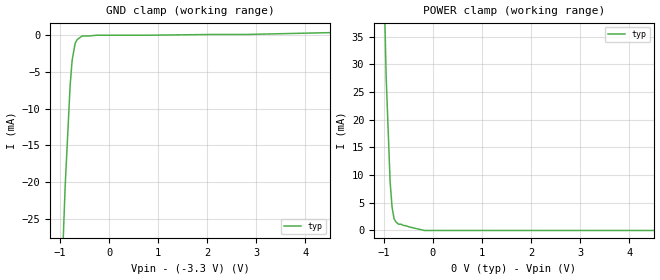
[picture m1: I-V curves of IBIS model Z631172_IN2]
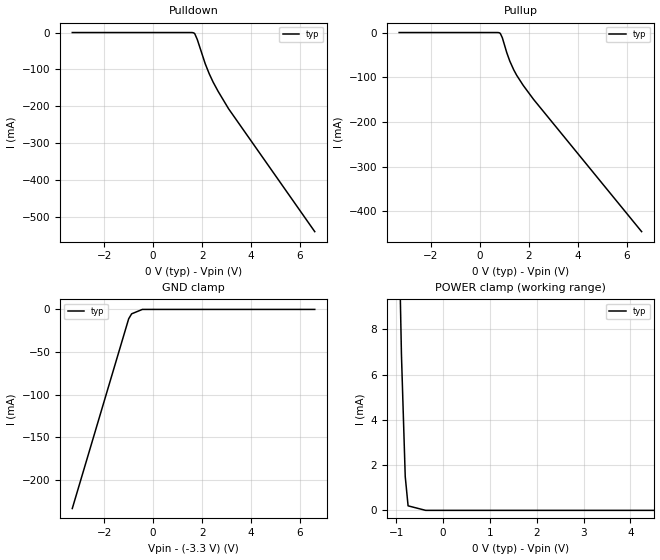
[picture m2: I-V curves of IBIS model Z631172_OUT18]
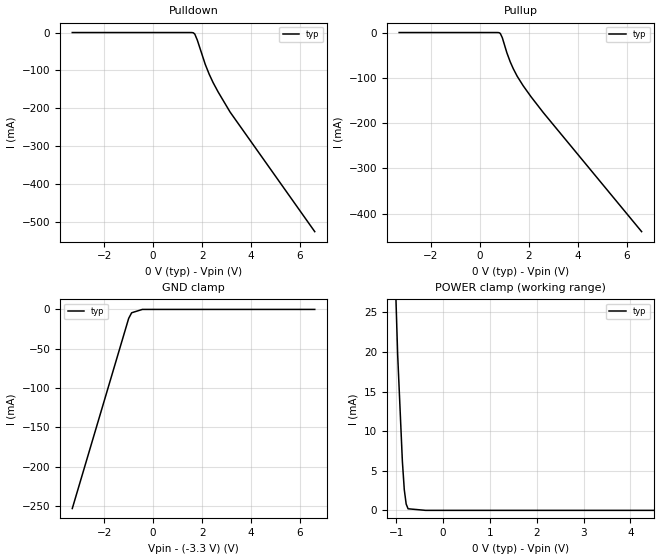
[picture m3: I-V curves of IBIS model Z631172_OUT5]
| YOU ARE ONLY AUTHORIZED TO USE THIS SOFTWARE
| ACCORDING TO LICENSOR'S LICENSE RESTRICTIONS.
[IBIS Ver] 3.1
[File Name] mc100lve111fn_-33.ibs
[File Rev] 2.0
[Source] Measured and created by ICX Technology
[Date] Thursday 11/2/00 9:36:00 AM
[Copyright]
| (C) COPYRIGHT 1993-2000
| MENTOR GRAPHICS CORPORATION
| ICX STANDARD LIBRARY, ICX PROJECT MODELING,
| ICX CUSTOM MODELING, ICX VENDOR MODEL
| ALL RIGHTS RESERVED.
| THE FOLLOWING ARE TRADEMARKS OR SERVICE MARKS OF
| MENTOR GRAPHICS CORPORATION:ICX (R), ICX STANDARD
| LIBRARY(R), ICX PROJECT MODELING(R), ICX CUSTOM
| MODELING(R), qualityIBIS(TM), MODELVIEWER(TM),
| AND MODELEDITOR(TM)
| ALL COPIES OF SOFTWARE, INCLUDING BUT NOT LIMITED TO
| ANY MODIFICATIONS, ENHANCEMENTS OR DERIVATIVE WORKS,
| MUST CONTAIN ALL MENTOR GRAPHICS CORPORATION'S
| NOTICES AND LEGENDS, INCLUDING THOSE EMBEDDED IN
| SOFTWARE AND THOSE AFFIXED TO SOFTWARE MEDIUM
| AND CONTAINER, AS RECEIVED FROM MENTOR GRAPHICS
| CORPORATION.
|  ZAP Model Builder 2.8
[Component] MC100LVE111FN_-33
[Manufacturer] OnSemiconductor
[Package]
| variable   typ   min   max
R_pkg  .083ohms NA NA
L_pkg  4.299nH NA NA
C_pkg  1.045pF NA NA
[Pin] signal_name  model_name  R_pin  L_pin C_pin
1 VCC POWER .08 3.94n .925p
2 _IN Z631172_IN2 .082 4.14n .995p
3 VBB NC .084 4.354n 1.065p
4 NC NC .086 4.583n 1.135p
5 _Q8 Z631172_OUT5 .086 4.583n 1.135p
6 Q8 Z631172_OUT18 .084 4.354n 1.065p
7 _Q7 Z631172_OUT5 .082 4.14n .995p
8 VCCO POWER .08 3.94n .925p
9 Q7 Z631172_OUT18 .082 4.14n .995p
10 _Q6 Z631172_OUT5 .084 4.354n 1.065p
11 Q6 Z631172_OUT18 .086 4.583n 1.135p
12 _Q5 Z631172_OUT5 .086 4.583n 1.135p
13 Q5 Z631172_OUT18 .084 4.354n 1.065p
14 _Q4 Z631172_OUT5 .082 4.14n .995p
15 VCCO POWER .08 3.94n .925p
16 Q4 Z631172_OUT18 .082 4.14n .995p
17 _Q3 Z631172_OUT5 .084 4.354n 1.065p
18 Q3 Z631172_OUT18 .086 4.583n 1.135p
19 _Q2 Z631172_OUT5 .086 4.583n 1.135p
20 Q2 Z631172_OUT18 .084 4.354n 1.065p
21 _Q1 Z631172_OUT5 .082 4.14n .995p
22 VCCO POWER .08 3.94n .925p
23 Q1 Z631172_OUT18 .082 4.14n .995p
24 _Q0 Z631172_OUT5 .084 4.354n 1.065p
25 Q0 Z631172_OUT18 .086 4.583n 1.135p
26 VEE POWER .086 4.583n 1.135p
27 NC NC .084 4.354n 1.065p
28 IN Z631172_IN2 .082 4.14n .995p
[Diff Pin] inv_pin vdiff tdelay_typ tdelay_min tdelay_max
28 2 500mv NA NA NA
6 5 NA NA NA .2ns
9 7 NA NA NA .2ns
11 10 NA NA NA .2ns
13 12 NA NA NA .2ns
16 14 NA NA NA .2ns
18 17 NA NA NA .2ns
20 19 NA NA NA .2ns
23 21 NA NA NA .2ns
25 24 NA NA NA .2ns
| Models and submodels in the file (3): Z631172_IN2 (Input_ECL), Z631172_OUT18 (Output_ECL), Z631172_OUT5 (Output_ECL)
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| (C) COPYRIGHT 1993-2000
| MENTOR GRAPHICS CORPORATION
| ICX STANDARD LIBRARY, ICX PROJECT MODELING,
| ICX CUSTOM MODELING, ICX VENDOR MODEL
| ALL RIGHTS RESERVED.
| THE FOLLOWING ARE TRADEMARKS OR SERVICE MARKS OF
| MENTOR GRAPHICS CORPORATION:ICX (R), ICX STANDARD
| LIBRARY(R), ICX PROJECT MODELING(R), ICX CUSTOM
| MODELING(R), qualityIBIS(TM), MODELVIEWER(TM),
| AND MODELEDITOR(TM)
| ALL COPIES OF SOFTWARE, INCLUDING BUT NOT LIMITED TO
| ANY MODIFICATIONS, ENHANCEMENTS OR DERIVATIVE WORKS,
| MUST CONTAIN ALL MENTOR GRAPHICS CORPORATION'S
| NOTICES AND LEGENDS, INCLUDING THOSE EMBEDDED IN
| SOFTWARE AND THOSE AFFIXED TO SOFTWARE MEDIUM
| AND CONTAINER, AS RECEIVED FROM MENTOR GRAPHICS
| CORPORATION.
| Model Application Version 1.89 2/18/99.
[Model] Z631172_IN2
Model_type Input_ECL
Vinl = -1.475V
Vinh = -1.165V
C_comp 3.000pF NA NA
| variable typ   min   max
[Voltage Range] -3.300V NA NA
[GND Clamp Reference] -3.300V NA NA
[POWER Clamp Reference] 0.000V NA NA
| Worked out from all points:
|   GND clamp passes 1 mA (typ) near -0.68 V on its own axis
|   POWER clamp passes 1 mA (typ) near -0.62 V on its own axis
[GND Clamp]
-3.3V     -526.6mA   NA         NA
-1.038V   -46.3mA    NA         NA
-896mV    -20.5mA    NA         NA
-795mV    -6.8mA     NA         NA
-754mV    -3.4mA     NA         NA
-693mV    -1.1mA     NA         NA
-652mV    -600uA     NA         NA
-546.2mV  -100uA     NA         NA
-250.3mV  0A         NA         NA
2.773V    100uA      NA         NA
6.6V      655.4uA    NA         NA
[POWER Clamp]
-3.3V     1.173A     NA         NA
-1.075V   75.47mA    NA         NA
-953mV    27.79mA    NA         NA
-872mV    8.797mA    NA         NA
-831mV    4.103mA    NA         NA
-791mV    2.109mA    NA         NA
-750mV    1.515mA    NA         NA
-699.5mV  1.129mA    NA         NA
-649mV    1.129mA    NA         NA
-175.3mV  0A         NA         NA
6.6V      0A         NA         NA
| (C) COPYRIGHT 1993-2000
| MENTOR GRAPHICS CORPORATION
| ICX STANDARD LIBRARY, ICX PROJECT MODELING,
| ICX CUSTOM MODELING, ICX VENDOR MODEL
| ALL RIGHTS RESERVED.
| THE FOLLOWING ARE TRADEMARKS OR SERVICE MARKS OF
| MENTOR GRAPHICS CORPORATION:ICX (R), ICX STANDARD
| LIBRARY(R), ICX PROJECT MODELING(R), ICX CUSTOM
| MODELING(R), qualityIBIS(TM), MODELVIEWER(TM),
| AND MODELEDITOR(TM)
| ALL COPIES OF SOFTWARE, INCLUDING BUT NOT LIMITED TO
| ANY MODIFICATIONS, ENHANCEMENTS OR DERIVATIVE WORKS,
| MUST CONTAIN ALL MENTOR GRAPHICS CORPORATION'S
| NOTICES AND LEGENDS, INCLUDING THOSE EMBEDDED IN
| SOFTWARE AND THOSE AFFIXED TO SOFTWARE MEDIUM
| AND CONTAINER, AS RECEIVED FROM MENTOR GRAPHICS
| CORPORATION.
| Model Application Version 1.89 2/18/99.
[Model] Z631172_OUT18
Model_type Output_ECL
Vref=-2.000V
Rref=50.00ohms
Cref=0.000F
Vmeas=-1.320V
C_comp 8.000pF NA NA
| variable typ   min   max
[Voltage Range] -3.300V NA NA
[POWER Clamp Reference] 0.000V NA NA
[Pullup Reference] 0.000V NA NA
[Pulldown Reference] 0.000V NA NA
[GND Clamp Reference] -3.300V NA NA
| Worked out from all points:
|   POWER clamp passes 1 mA (typ) near -0.79 V on its own axis
[GND Clamp]
-3.3V     -234mA     NA         NA
-997mV    -11.01mA   NA         NA
-876mV    -5.178mA   NA         NA
-438mV    0A         NA         NA
6.6V      0A         NA         NA
[Pulldown]
-3.3V     0A         NA         NA
1.561V    0A         NA         NA
1.682V    -2mA       NA         NA
1.804V    -18.9mA    NA         NA
2.128V    -84.8mA    NA         NA
2.29V     -111.7mA   NA         NA
2.452V    -134.8mA   NA         NA
2.655V    -159.7mA   NA         NA
3.081V    -206.9mA   NA         NA
6.6V      -540.6mA   NA         NA
[Pullup]
-3.3V     0A         NA         NA
709mV     0A         NA         NA
831mV     -2.1mA     NA         NA
912mV     -11.5mA    NA         NA
1.095V    -45.2mA    NA         NA
1.216V    -63.7mA    NA         NA
1.378V    -83.4mA    NA         NA
1.5V      -95.7mA    NA         NA
1.763V    -118mA     NA         NA
2.189V    -149.6mA   NA         NA
6.6V      -445.3mA   NA         NA
[POWER Clamp]
-3.3V     529mA      NA         NA
-1.074V   40mA       NA         NA
-1.034V   21.7mA     NA         NA
-892mV    6.9mA      NA         NA
-811mV    1.5mA      NA         NA
-750mV    200uA      NA         NA
-375mV    0A         NA         NA
6.6V      0A         NA         NA
[Ramp]
| variable typ min max
dV/dt_r 452.9m/161.6p NA NA
dV/dt_f 452.9m/136.3p NA NA
R_load = 50.00Ohms
| (C) COPYRIGHT 1993-2000
| MENTOR GRAPHICS CORPORATION
| ICX STANDARD LIBRARY, ICX PROJECT MODELING,
| ICX CUSTOM MODELING, ICX VENDOR MODEL
| ALL RIGHTS RESERVED.
| THE FOLLOWING ARE TRADEMARKS OR SERVICE MARKS OF
| MENTOR GRAPHICS CORPORATION:ICX (R), ICX STANDARD
| LIBRARY(R), ICX PROJECT MODELING(R), ICX CUSTOM
| MODELING(R), qualityIBIS(TM), MODELVIEWER(TM),
| AND MODELEDITOR(TM)
| ALL COPIES OF SOFTWARE, INCLUDING BUT NOT LIMITED TO
| ANY MODIFICATIONS, ENHANCEMENTS OR DERIVATIVE WORKS,
| MUST CONTAIN ALL MENTOR GRAPHICS CORPORATION'S
| NOTICES AND LEGENDS, INCLUDING THOSE EMBEDDED IN
| SOFTWARE AND THOSE AFFIXED TO SOFTWARE MEDIUM
| AND CONTAINER, AS RECEIVED FROM MENTOR GRAPHICS
| CORPORATION.
| Model Application Version 1.89 2/18/99.
[Model] Z631172_OUT5
Model_type Output_ECL
Vref=-2.000V
Rref=50.00ohms
Cref=0.000F
Vmeas=-1.320V
C_comp 8.000pF NA NA
| variable typ   min   max
[Voltage Range] -3.300V NA NA
[POWER Clamp Reference] 0.000V NA NA
[Pullup Reference] 0.000V NA NA
[Pulldown Reference] 0.000V NA NA
[GND Clamp Reference] -3.300V NA NA
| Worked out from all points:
|   POWER clamp passes 1 mA (typ) near -0.80 V on its own axis
[GND Clamp]
-3.3V     -253.3mA   NA         NA
-997mV    -11.41mA   NA         NA
-876mV    -4.282mA   NA         NA
-438mV    0A         NA         NA
6.6V      0A         NA         NA
[Pulldown]
-3.3V     0A         NA         NA
1.561V    0A         NA         NA
1.601V    -200uA     NA         NA
1.642V    -700uA     NA         NA
1.703V    -4.2mA     NA         NA
1.804V    -19.8mA    NA         NA
2.128V    -84mA      NA         NA
2.29V     -110.2mA   NA         NA
2.452V    -132.7mA   NA         NA
2.655V    -157.1mA   NA         NA
3.142V    -210.2mA   NA         NA
6.6V      -526.6mA   NA         NA
[Pullup]
-3.3V     0A         NA         NA
709mV     0A         NA         NA
831mV     -2.1mA     NA         NA
912mV     -11.4mA    NA         NA
1.095V    -44.2mA    NA         NA
1.236V    -64.9mA    NA         NA
1.52V     -96.6mA    NA         NA
1.763V    -117.5mA   NA         NA
2.594V    -177.4mA   NA         NA
6.6V      -439.8mA   NA         NA
[POWER Clamp]
-3.3V     464.2mA    NA         NA
-973mV    19.7mA     NA         NA
-872mV    6.2mA      NA         NA
-831mV    2.6mA      NA         NA
-791mV    800uA      NA         NA
-750mV    200uA      NA         NA
-375mV    0A         NA         NA
6.6V      0A         NA         NA
[Ramp]
| variable typ min max
dV/dt_r 449.4m/170.2p NA NA
dV/dt_f 449.4m/133.1p NA NA
R_load = 50.00Ohms
